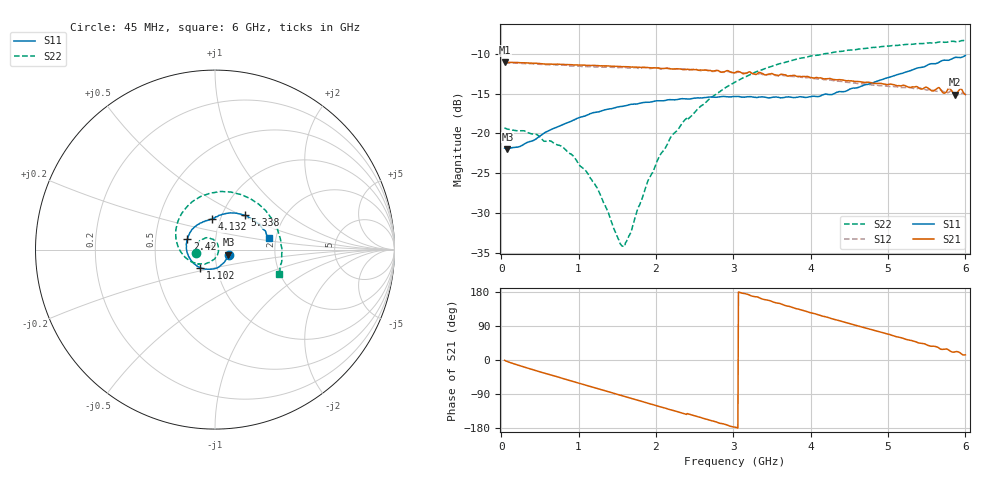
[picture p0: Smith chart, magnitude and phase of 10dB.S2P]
! C:\Users\Aljaz\OneDrive - Univerza v Ljubljani\DOKTORAT\NOVI SA\Slabilec PE43711B\meritve\prototip2\10dB.S2P
! Touchstone 1.1 file saved by VNA.EXE V1.65 (www.ke5fx.com/gpib/readme.htm)
! 18. 04. 2022 18:13:02
!  Source: HP8510C.07.14: Aug 26  1998
!  Min freq: 4.500000E+007 Hz
!  Max freq: 6.000000E+009 Hz
!  Points: 801
!  Params: S11 S21 S12 S22
# GHZ S DB R 50
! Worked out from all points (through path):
!   801 points, 45 MHz to 6 GHz, reference 50 ohm
!   highest |S21| = -11.08 dB at 52.44 MHz (marker M1); lowest = -15.2 dB at 5.866 GHz (marker M2)
!   group delay of S21, straight-line fit = 160 ps
!   lowest |S11| = -21.9 dB at 82.22 MHz (marker M3), VSWR 1.17, Z = 58 - j3.36 ohm
!   |S11| at or under -10 dB: start of sweep to end of sweep
!   |S22| runs from -34.1 to -8.3 dB; largest |S21 - S12| = 0.015
!   S11 on the Smith chart (normalised r, x): 45 MHz: 1.16, -0.07; 1.102 GHz: 0.83, -0.17; 2.42 GHz: 0.73, +0.09; 4.132 GHz: 0.91, +0.32; 5.338 GHz: 1.28, +0.52; 6 GHz: 1.84, +0.26
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0.045  -21.86 -20.7  -11.08 -0.8  -11.19 -0.9  -19.28 -169.7
0.05244375  -21.87 -20.0  -11.08 -1.7  -11.18 -1.8  -19.37 -172.0
0.08221875  -21.94 -21.1  -11.09 -4.2  -11.18 -4.3  -19.47 -178.0
0.7744875  -18.99 -102.5  -11.35 -47.4  -11.45 -47.4  -21.58 127.8
1.042463  -17.92 -124.6  -11.45 -63.3  -11.62 -63.4  -24.25 104.9
1.102013  -17.76 -129.4  -11.47 -66.9  -11.63 -66.7  -24.79 99.9
1.258331  -17.30 -140.0  -11.51 -76.2  -11.67 -75.8  -27.21 82.7
1.570969  -16.61 -159.2  -11.63 -94.7  -11.73 -93.9  -34.15 0.3
1.667738  -16.37 -164.6  -11.66 -100.5  -11.81 -99.3  -32.58 -40.1
1.883606  -16.09 -175.8  -11.73 -113.2  -11.80 -112.7  -26.30 -89.3
2.032481  -15.91 177.0  -11.79 -122.1  -11.81 -121.6  -23.11 -107.8
2.211131  -15.78 168.4  -11.92 -132.7  -11.90 -132.0  -20.22 -124.4
2.419556  -15.68 159.0  -11.97 -142.5  -12.04 -142.6  -18.17 -139.8
3.0225  -15.37 132.8  -12.36 -177.1  -12.41 -177.8  -13.57 173.6
3.476569  -15.53 115.4  -12.56 156.3  -12.62 155.3  -11.66 141.4
4.019963  -15.36 99.1  -13.03 123.7  -13.08 123.0  -10.27 104.8
4.131619  -15.29 95.3  -13.04 117.2  -13.17 116.9  -10.11 97.4
4.51125  -14.44 84.2  -13.41 95.7  -13.63 95.3  -9.55 73.4
5.009981  -12.99 65.6  -13.85 67.9  -14.12 68.3  -9.04 41.7
5.337506  -11.96 49.2  -14.18 49.5  -14.39 50.2  -8.79 21.1
5.866013  -10.49 20.2  -15.15 21.5  -15.00 20.5  -8.50 -12.2
6  -10.24 12.0  -15.13 13.5  -15.06 15.0  -8.39 -20.7
